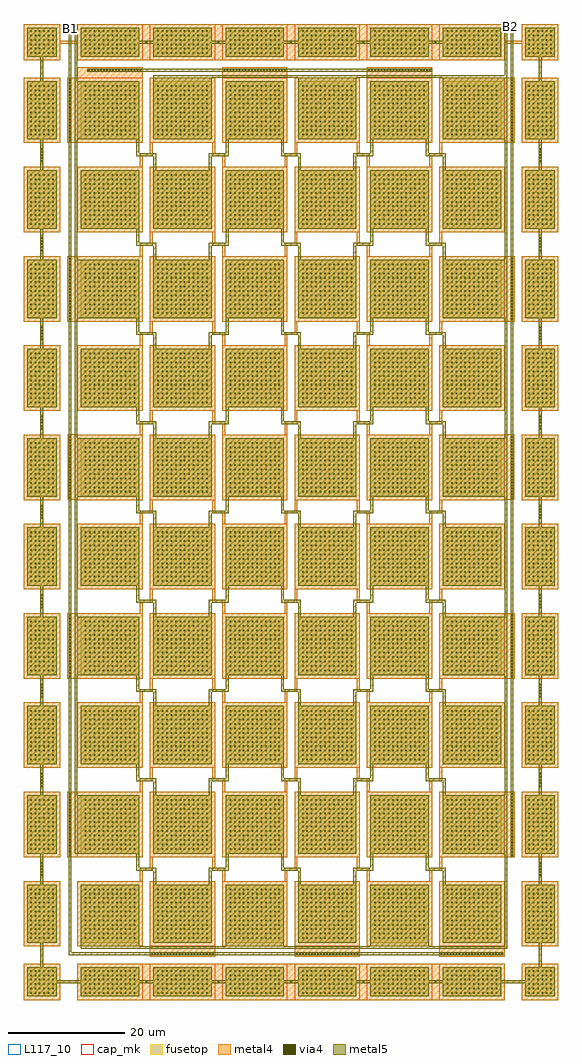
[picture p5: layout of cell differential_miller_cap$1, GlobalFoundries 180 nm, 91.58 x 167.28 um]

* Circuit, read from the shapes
.subckt differential_miller_cap$1 B1 B2 T1 T2
XC1 n1 n1 cap_mim_2f0fF c_width=5u c_length=5u m=4
XC2 n1 n1 cap_mim_2f0fF c_width=5u c_length=10u m=20
XC3 n1 n1 cap_mim_2f0fF c_width=10u c_length=5u m=12
XC4 T2 B2 cap_mim_2f0fF c_width=10u c_length=10u m=30
XC5 T1 B1 cap_mim_2f0fF c_width=10u c_length=10u m=30
.ends

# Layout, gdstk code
from math import pi, radians
import gdstk
lib = gdstk.Library(unit=1e-6, precision=5e-09)
def R(c, l, rs):  # rectangles x0, y0, x1, y1
    for r in rs: c.add(gdstk.rectangle(r[:2], r[2:], *l))
def A(c, l, x, y, w, h, nx, ny, dx, dy):  # array of equal rectangles
    R(c, l, [(x+i*dx, y+j*dy, x+i*dx+w, y+j*dy+h) for i in range(nx) for j in range(ny)])
via4 = (41, 0)
metal4 = (46, 0)
fusetop = (75, 0)
metal5 = (81, 0)
cap_mk = (117, 5)
L117_10 = (117, 10)

cap_mim_6 = lib.new_cell('cap_mim$6')
A(cap_mim_6, via4, 0.69, 0.69, 0.26, 0.26, 12, 12, 0.76, 0.76)
R(cap_mim_6, metal4, [(-0.6,-0.6,10.6,10.6)])
R(cap_mim_6, fusetop, [(0,0,10,10)])
R(cap_mim_6, metal5, [(0,0,10,10)])
R(cap_mim_6, cap_mk, [(-0.6,-0.6,10.6,10.6)])
R(cap_mim_6, L117_10, [(0,0,10,0.1)])

cap_mim_7 = lib.new_cell('cap_mim$7')
A(cap_mim_7, via4, 0.47, 0.69, 0.26, 0.26, 6, 12, 0.76, 0.76)
R(cap_mim_7, metal4, [(-0.6,-0.6,5.6,10.6)])
R(cap_mim_7, fusetop, [(0,0,5,10)])
R(cap_mim_7, metal5, [(0,0,5,10)])
R(cap_mim_7, cap_mk, [(-0.6,-0.6,5.6,10.6)])
R(cap_mim_7, L117_10, [(0,0,5,0.1)])

cap_mim_8 = lib.new_cell('cap_mim$8')
A(cap_mim_8, via4, 0.47, 0.47, 0.26, 0.26, 6, 6, 0.76, 0.76)
R(cap_mim_8, metal4, [(-0.6,-0.6,5.6,5.6)])
R(cap_mim_8, fusetop, [(0,0,5,5)])
R(cap_mim_8, metal5, [(0,0,5,5)])
R(cap_mim_8, cap_mk, [(-0.6,-0.6,5.6,5.6)])
R(cap_mim_8, L117_10, [(0,0,5,0.1)])

differential_miller_cap_ = lib.new_cell('differential_miller_cap$1')
A(differential_miller_cap_, via4, 20.86, 2.97, 0.26, 0.26, 5, 2, 12.4, 161.08)
A(differential_miller_cap_, via4, 21.86, 7.8, 0.26, 0.26, 21, 1, 0.52, 0)
A(differential_miller_cap_, via4, 46.66, 7.8, 0.26, 0.26, 21, 1, 0.52, 0)
A(differential_miller_cap_, via4, 71.46, 7.8, 0.26, 0.26, 21, 1, 0.52, 0)
A(differential_miller_cap_, via4, 2.97, 21.27, 0.26, 0.26, 1, 5, 0, 0.52)
A(differential_miller_cap_, via4, 88.35, 21.27, 0.26, 0.26, 1, 5, 0, 0.52)
A(differential_miller_cap_, via4, 7.8, 24.76, 0.26, 0.26, 1, 21, 0, 0.52)
A(differential_miller_cap_, via4, 83.52, 24.76, 0.26, 0.26, 1, 21, 0, 0.52)
A(differential_miller_cap_, via4, 2.97, 36.57, 0.26, 0.26, 1, 5, 0, 0.52)
A(differential_miller_cap_, via4, 88.35, 36.57, 0.26, 0.26, 1, 5, 0, 0.52)
A(differential_miller_cap_, via4, 2.97, 51.87, 0.26, 0.26, 1, 5, 0, 0.52)
A(differential_miller_cap_, via4, 88.35, 51.87, 0.26, 0.26, 1, 5, 0, 0.52)
A(differential_miller_cap_, via4, 7.8, 55.36, 0.26, 0.26, 1, 21, 0, 0.52)
A(differential_miller_cap_, via4, 83.52, 55.36, 0.26, 0.26, 1, 21, 0, 0.52)
A(differential_miller_cap_, via4, 2.97, 67.17, 0.26, 0.26, 1, 5, 0, 0.52)
A(differential_miller_cap_, via4, 88.35, 67.17, 0.26, 0.26, 1, 5, 0, 0.52)
A(differential_miller_cap_, via4, 2.97, 82.47, 0.26, 0.26, 1, 5, 0, 0.52)
A(differential_miller_cap_, via4, 88.35, 82.47, 0.26, 0.26, 1, 5, 0, 0.52)
A(differential_miller_cap_, via4, 7.8, 85.96, 0.26, 0.26, 1, 21, 0, 0.52)
A(differential_miller_cap_, via4, 83.52, 85.96, 0.26, 0.26, 1, 21, 0, 0.52)
A(differential_miller_cap_, via4, 2.97, 97.77, 0.26, 0.26, 1, 5, 0, 0.52)
A(differential_miller_cap_, via4, 88.35, 97.77, 0.26, 0.26, 1, 5, 0, 0.52)
A(differential_miller_cap_, via4, 2.97, 113.07, 0.26, 0.26, 1, 5, 0, 0.52)
A(differential_miller_cap_, via4, 88.35, 113.07, 0.26, 0.26, 1, 5, 0, 0.52)
A(differential_miller_cap_, via4, 7.8, 116.56, 0.26, 0.26, 1, 21, 0, 0.52)
A(differential_miller_cap_, via4, 83.52, 116.56, 0.26, 0.26, 1, 21, 0, 0.52)
A(differential_miller_cap_, via4, 2.97, 128.37, 0.26, 0.26, 1, 5, 0, 0.52)
A(differential_miller_cap_, via4, 88.35, 128.37, 0.26, 0.26, 1, 5, 0, 0.52)
A(differential_miller_cap_, via4, 2.97, 143.67, 0.26, 0.26, 1, 5, 0, 0.52)
A(differential_miller_cap_, via4, 88.35, 143.67, 0.26, 0.26, 1, 5, 0, 0.52)
A(differential_miller_cap_, via4, 7.8, 147.16, 0.26, 0.26, 1, 21, 0, 0.52)
A(differential_miller_cap_, via4, 83.52, 147.16, 0.26, 0.26, 1, 21, 0, 0.52)
A(differential_miller_cap_, via4, 11.02, 159.22, 0.26, 0.26, 18, 1, 0.52, 0)
A(differential_miller_cap_, via4, 34.26, 159.22, 0.26, 0.26, 21, 1, 0.52, 0)
A(differential_miller_cap_, via4, 59.06, 159.22, 0.26, 0.26, 21, 1, 0.52, 0)
A(differential_miller_cap_, metal4, 20.39, 0, 1.2, 6.2, 5, 2, 12.4, 161.08)
A(differential_miller_cap_, metal4, 21.59, 7.4, 11.2, 1.79, 3, 1, 24.8, 0)
A(differential_miller_cap_, metal4, 9.19, 158.09, 11.2, 1.79, 3, 1, 24.8, 0)
R(differential_miller_cap_, metal4, [(7.4,24.49,9.19,35.69), (82.39,24.49,84.18,35.69), (7.4,55.09,9.19,66.29), (82.39,55.09,84.18,66.29), (7.535,85.73,9.325,96.93), (82.255,85.73,84.045,96.93), (7.4,116.29,9.19,127.49), (82.39,116.29,84.18,127.49), (7.4,146.89,9.19,158.09), (82.39,146.89,84.18,158.09)])
A(differential_miller_cap_, metal5, 9.79, 9.19, 10, 0.6, 3, 1, 24.8, 0)
A(differential_miller_cap_, metal5, 9.19, 25.09, 0.6, 10, 1, 5, 0, 30.6)
A(differential_miller_cap_, metal5, 81.79, 25.09, 0.6, 10, 1, 5, 0, 30.6)
R(differential_miller_cap_, metal5, [(7.71,7.71,82.18,8.15), (7.71,8.15,8.15,167.28), (9.79,8.75,82.83,9.19), (82.39,9.19,82.83,167.28), (83.43,24.49,83.87,167.28), (8.75,25.09,9.19,167.28), (22.19,157.49,32.19,158.09), (46.99,157.49,56.99,158.09), (71.79,157.49,82.39,158.09), (22.19,158.09,82.39,158.53), (10.89,159.13,69.99,159.57)])
differential_miller_cap_.add(gdstk.FlexPath([(20.14,142.79),(20.14,144.84),(21.84,144.84),(21.84,146.89)], 0.5, ends="flush", simple_path=True, layer=46, datatype=0))  # metal4
differential_miller_cap_.add(gdstk.FlexPath([(20.14,112.19),(20.14,114.24),(21.84,114.24),(21.84,116.29)], 0.5, ends="flush", simple_path=True, layer=46, datatype=0))  # metal4
differential_miller_cap_.add(gdstk.FlexPath([(71.44,100.99),(71.44,98.94),(69.74,98.94),(69.74,96.89)], 0.5, ends="flush", simple_path=True, layer=46, datatype=0))  # metal4
differential_miller_cap_.add(gdstk.FlexPath([(21.84,100.99),(21.84,98.94),(20.14,98.94),(20.14,96.89)], 0.5, ends="flush", simple_path=True, layer=46, datatype=0))  # metal4
differential_miller_cap_.add(gdstk.FlexPath([(20.14,81.59),(20.14,83.64),(21.84,83.64),(21.84,85.69)], 0.5, ends="flush", simple_path=True, layer=46, datatype=0))  # metal4
differential_miller_cap_.add(gdstk.FlexPath([(21.84,70.39),(21.84,68.34),(20.14,68.34),(20.14,66.29)], 0.5, ends="flush", simple_path=True, layer=46, datatype=0))  # metal4
differential_miller_cap_.add(gdstk.FlexPath([(71.44,70.39),(71.44,68.34),(69.74,68.34),(69.74,66.29)], 0.5, ends="flush", simple_path=True, layer=46, datatype=0))  # metal4
differential_miller_cap_.add(gdstk.FlexPath([(20.14,50.99),(20.14,53.04),(21.84,53.04),(21.84,55.09)], 0.5, ends="flush", simple_path=True, layer=46, datatype=0))  # metal4
differential_miller_cap_.add(gdstk.FlexPath([(71.44,39.79),(71.44,37.74),(69.74,37.74),(69.74,35.69)], 0.5, ends="flush", simple_path=True, layer=46, datatype=0))  # metal4
differential_miller_cap_.add(gdstk.FlexPath([(21.84,39.79),(21.84,37.74),(20.14,37.74),(20.14,35.69)], 0.5, ends="flush", simple_path=True, layer=46, datatype=0))  # metal4
differential_miller_cap_.add(gdstk.FlexPath([(20.14,20.39),(20.14,22.44),(21.84,22.44),(21.84,24.49)], 0.5, ends="flush", simple_path=True, layer=46, datatype=0))  # metal4
differential_miller_cap_.add(gdstk.FlexPath([(44.94,142.79),(44.94,144.84),(46.64,144.84),(46.64,146.89)], 0.5, ends="flush", simple_path=True, layer=46, datatype=0))  # metal4
differential_miller_cap_.add(gdstk.FlexPath([(71.44,131.59),(71.44,129.54),(69.74,129.54),(69.74,127.49)], 0.5, ends="flush", simple_path=True, layer=46, datatype=0))  # metal4
differential_miller_cap_.add(gdstk.FlexPath([(44.94,112.19),(44.94,114.24),(46.64,114.24),(46.64,116.29)], 0.5, ends="flush", simple_path=True, layer=46, datatype=0))  # metal4
differential_miller_cap_.add(gdstk.FlexPath([(46.64,100.99),(46.64,98.94),(44.94,98.94),(44.94,96.89)], 0.5, ends="flush", simple_path=True, layer=46, datatype=0))  # metal4
differential_miller_cap_.add(gdstk.FlexPath([(44.94,81.59),(44.94,83.64),(46.64,83.64),(46.64,85.69)], 0.5, ends="flush", simple_path=True, layer=46, datatype=0))  # metal4
differential_miller_cap_.add(gdstk.FlexPath([(46.64,70.39),(46.64,68.34),(44.94,68.34),(44.94,66.29)], 0.5, ends="flush", simple_path=True, layer=46, datatype=0))  # metal4
differential_miller_cap_.add(gdstk.FlexPath([(44.94,50.99),(44.94,53.04),(46.64,53.04),(46.64,55.09)], 0.5, ends="flush", simple_path=True, layer=46, datatype=0))  # metal4
differential_miller_cap_.add(gdstk.FlexPath([(46.64,39.79),(46.64,37.74),(44.94,37.74),(44.94,35.69)], 0.5, ends="flush", simple_path=True, layer=46, datatype=0))  # metal4
differential_miller_cap_.add(gdstk.FlexPath([(44.94,20.39),(44.94,22.44),(46.64,22.44),(46.64,24.49)], 0.5, ends="flush", simple_path=True, layer=46, datatype=0))  # metal4
differential_miller_cap_.add(gdstk.FlexPath([(69.74,142.79),(69.74,144.84),(71.44,144.84),(71.44,146.89)], 0.5, ends="flush", simple_path=True, layer=46, datatype=0))  # metal4
differential_miller_cap_.add(gdstk.FlexPath([(46.64,131.59),(46.64,129.54),(44.94,129.54),(44.94,127.49)], 0.5, ends="flush", simple_path=True, layer=46, datatype=0))  # metal4
differential_miller_cap_.add(gdstk.FlexPath([(69.74,112.19),(69.74,114.24),(71.44,114.24),(71.44,116.29)], 0.5, ends="flush", simple_path=True, layer=46, datatype=0))  # metal4
differential_miller_cap_.add(gdstk.FlexPath([(69.74,81.59),(69.74,83.64),(71.44,83.64),(71.44,85.69)], 0.5, ends="flush", simple_path=True, layer=46, datatype=0))  # metal4
differential_miller_cap_.add(gdstk.FlexPath([(69.74,50.99),(69.74,53.04),(71.44,53.04),(71.44,55.09)], 0.5, ends="flush", simple_path=True, layer=46, datatype=0))  # metal4
differential_miller_cap_.add(gdstk.FlexPath([(69.74,20.39),(69.74,22.44),(71.44,22.44),(71.44,24.49)], 0.5, ends="flush", simple_path=True, layer=46, datatype=0))  # metal4
differential_miller_cap_.add(gdstk.FlexPath([(21.84,131.59),(21.84,129.54),(20.14,129.54),(20.14,127.49)], 0.5, ends="flush", simple_path=True, layer=46, datatype=0))  # metal4
differential_miller_cap_.add(gdstk.FlexPath([(34.24,142.79),(34.24,144.84),(32.54,144.84),(32.54,146.89)], 0.5, ends="flush", simple_path=True, layer=46, datatype=0))  # metal4
differential_miller_cap_.add(gdstk.FlexPath([(32.54,131.59),(32.54,129.54),(34.24,129.54),(34.24,127.49)], 0.5, ends="flush", simple_path=True, layer=46, datatype=0))  # metal4
differential_miller_cap_.add(gdstk.FlexPath([(34.24,112.19),(34.24,114.24),(32.54,114.24),(32.54,116.29)], 0.5, ends="flush", simple_path=True, layer=46, datatype=0))  # metal4
differential_miller_cap_.add(gdstk.FlexPath([(34.24,81.59),(34.24,83.64),(32.54,83.64),(32.54,85.69)], 0.5, ends="flush", simple_path=True, layer=46, datatype=0))  # metal4
differential_miller_cap_.add(gdstk.FlexPath([(34.24,50.99),(34.24,53.04),(32.54,53.04),(32.54,55.09)], 0.5, ends="flush", simple_path=True, layer=46, datatype=0))  # metal4
differential_miller_cap_.add(gdstk.FlexPath([(34.24,20.39),(34.24,22.44),(32.54,22.44),(32.54,24.49)], 0.5, ends="flush", simple_path=True, layer=46, datatype=0))  # metal4
differential_miller_cap_.add(gdstk.FlexPath([(32.54,100.99),(32.54,98.94),(34.24,98.94),(34.24,96.89)], 0.5, ends="flush", simple_path=True, layer=46, datatype=0))  # metal4
differential_miller_cap_.add(gdstk.FlexPath([(32.54,70.39),(32.54,68.34),(34.24,68.34),(34.24,66.29)], 0.5, ends="flush", simple_path=True, layer=46, datatype=0))  # metal4
differential_miller_cap_.add(gdstk.FlexPath([(32.54,39.79),(32.54,37.74),(34.24,37.74),(34.24,35.69)], 0.5, ends="flush", simple_path=True, layer=46, datatype=0))  # metal4
differential_miller_cap_.add(gdstk.FlexPath([(59.04,142.79),(59.04,144.84),(57.34,144.84),(57.34,146.89)], 0.5, ends="flush", simple_path=True, layer=46, datatype=0))  # metal4
differential_miller_cap_.add(gdstk.FlexPath([(57.34,131.59),(57.34,129.54),(59.04,129.54),(59.04,127.49)], 0.5, ends="flush", simple_path=True, layer=46, datatype=0))  # metal4
differential_miller_cap_.add(gdstk.FlexPath([(59.04,112.19),(59.04,114.24),(57.34,114.24),(57.34,116.29)], 0.5, ends="flush", simple_path=True, layer=46, datatype=0))  # metal4
differential_miller_cap_.add(gdstk.FlexPath([(57.34,100.99),(57.34,98.94),(59.04,98.94),(59.04,96.89)], 0.5, ends="flush", simple_path=True, layer=46, datatype=0))  # metal4
differential_miller_cap_.add(gdstk.FlexPath([(59.04,81.59),(59.04,83.64),(57.34,83.64),(57.34,85.69)], 0.5, ends="flush", simple_path=True, layer=46, datatype=0))  # metal4
differential_miller_cap_.add(gdstk.FlexPath([(57.34,70.39),(57.34,68.34),(59.04,68.34),(59.04,66.29)], 0.5, ends="flush", simple_path=True, layer=46, datatype=0))  # metal4
differential_miller_cap_.add(gdstk.FlexPath([(59.04,50.99),(59.04,53.04),(57.34,53.04),(57.34,55.09)], 0.5, ends="flush", simple_path=True, layer=46, datatype=0))  # metal4
differential_miller_cap_.add(gdstk.FlexPath([(57.34,39.79),(57.34,37.74),(59.04,37.74),(59.04,35.69)], 0.5, ends="flush", simple_path=True, layer=46, datatype=0))  # metal4
differential_miller_cap_.add(gdstk.FlexPath([(59.04,20.39),(59.04,22.44),(57.34,22.44),(57.34,24.49)], 0.5, ends="flush", simple_path=True, layer=46, datatype=0))  # metal4
differential_miller_cap_.add(gdstk.FlexPath([(88.48,20.39),(88.48,24.49)], 0.5, ends="flush", simple_path=True, layer=46, datatype=0))  # metal4
differential_miller_cap_.add(gdstk.FlexPath([(88.48,35.69),(88.48,39.79)], 0.5, ends="flush", simple_path=True, layer=46, datatype=0))  # metal4
differential_miller_cap_.add(gdstk.FlexPath([(88.48,50.99),(88.48,55.09)], 0.5, ends="flush", simple_path=True, layer=46, datatype=0))  # metal4
differential_miller_cap_.add(gdstk.FlexPath([(88.48,66.29),(88.48,70.39)], 0.5, ends="flush", simple_path=True, layer=46, datatype=0))  # metal4
differential_miller_cap_.add(gdstk.FlexPath([(88.48,81.59),(88.48,85.69)], 0.5, ends="flush", simple_path=True, layer=46, datatype=0))  # metal4
differential_miller_cap_.add(gdstk.FlexPath([(88.48,96.89),(88.48,100.99)], 0.5, ends="flush", simple_path=True, layer=46, datatype=0))  # metal4
differential_miller_cap_.add(gdstk.FlexPath([(88.48,112.19),(88.48,116.29)], 0.5, ends="flush", simple_path=True, layer=46, datatype=0))  # metal4
differential_miller_cap_.add(gdstk.FlexPath([(88.48,127.49),(88.48,131.59)], 0.5, ends="flush", simple_path=True, layer=46, datatype=0))  # metal4
differential_miller_cap_.add(gdstk.FlexPath([(88.48,142.79),(88.48,146.89)], 0.5, ends="flush", simple_path=True, layer=46, datatype=0))  # metal4
differential_miller_cap_.add(gdstk.FlexPath([(3.1,142.79),(3.1,146.89)], 0.5, ends="flush", simple_path=True, layer=46, datatype=0))  # metal4
differential_miller_cap_.add(gdstk.FlexPath([(3.1,127.49),(3.1,131.59)], 0.5, ends="flush", simple_path=True, layer=46, datatype=0))  # metal4
differential_miller_cap_.add(gdstk.FlexPath([(3.1,112.19),(3.1,116.29)], 0.5, ends="flush", simple_path=True, layer=46, datatype=0))  # metal4
differential_miller_cap_.add(gdstk.FlexPath([(3.1,96.89),(3.1,100.99)], 0.5, ends="flush", simple_path=True, layer=46, datatype=0))  # metal4
differential_miller_cap_.add(gdstk.FlexPath([(3.1,81.59),(3.1,85.69)], 0.5, ends="flush", simple_path=True, layer=46, datatype=0))  # metal4
differential_miller_cap_.add(gdstk.FlexPath([(3.1,66.29),(3.1,70.39)], 0.5, ends="flush", simple_path=True, layer=46, datatype=0))  # metal4
differential_miller_cap_.add(gdstk.FlexPath([(3.1,50.99),(3.1,55.09)], 0.5, ends="flush", simple_path=True, layer=46, datatype=0))  # metal4
differential_miller_cap_.add(gdstk.FlexPath([(3.1,35.69),(3.1,39.79)], 0.5, ends="flush", simple_path=True, layer=46, datatype=0))  # metal4
differential_miller_cap_.add(gdstk.FlexPath([(3.1,20.39),(3.1,24.49)], 0.5, ends="flush", simple_path=True, layer=46, datatype=0))  # metal4
differential_miller_cap_.add(gdstk.FlexPath([(3.35,164.18),(88.48,164.18),(88.48,3.1),(3.1,3.1),(3.1,164.43)], 0.5, ends="flush", simple_path=True, layer=46, datatype=0))  # metal4
differential_miller_cap_.add(gdstk.FlexPath([(22.44,142.19),(22.44,144.84),(19.54,144.84),(19.54,147.49)], 0.5, ends="flush", simple_path=True, layer=81, datatype=0))  # metal5
differential_miller_cap_.add(gdstk.FlexPath([(22.44,111.59),(22.44,114.24),(19.54,114.24),(19.54,116.89)], 0.5, ends="flush", simple_path=True, layer=81, datatype=0))  # metal5
differential_miller_cap_.add(gdstk.FlexPath([(69.14,101.59),(69.14,98.94),(72.04,98.94),(72.04,96.29)], 0.5, ends="flush", simple_path=True, layer=81, datatype=0))  # metal5
differential_miller_cap_.add(gdstk.FlexPath([(19.54,101.59),(19.54,98.94),(22.44,98.94),(22.44,96.29)], 0.5, ends="flush", simple_path=True, layer=81, datatype=0))  # metal5
differential_miller_cap_.add(gdstk.FlexPath([(22.44,80.99),(22.44,83.64),(19.54,83.64),(19.54,86.29)], 0.5, ends="flush", simple_path=True, layer=81, datatype=0))  # metal5
differential_miller_cap_.add(gdstk.FlexPath([(19.54,70.99),(19.54,68.34),(22.44,68.34),(22.44,65.69)], 0.5, ends="flush", simple_path=True, layer=81, datatype=0))  # metal5
differential_miller_cap_.add(gdstk.FlexPath([(69.14,70.99),(69.14,68.34),(72.04,68.34),(72.04,65.69)], 0.5, ends="flush", simple_path=True, layer=81, datatype=0))  # metal5
differential_miller_cap_.add(gdstk.FlexPath([(22.44,50.39),(22.44,53.04),(19.54,53.04),(19.54,55.69)], 0.5, ends="flush", simple_path=True, layer=81, datatype=0))  # metal5
differential_miller_cap_.add(gdstk.FlexPath([(69.14,40.39),(69.14,37.74),(72.04,37.74),(72.04,35.09)], 0.5, ends="flush", simple_path=True, layer=81, datatype=0))  # metal5
differential_miller_cap_.add(gdstk.FlexPath([(19.54,40.39),(19.54,37.74),(22.44,37.74),(22.44,35.09)], 0.5, ends="flush", simple_path=True, layer=81, datatype=0))  # metal5
differential_miller_cap_.add(gdstk.FlexPath([(22.44,19.79),(22.44,22.44),(19.54,22.44),(19.54,25.09)], 0.5, ends="flush", simple_path=True, layer=81, datatype=0))  # metal5
differential_miller_cap_.add(gdstk.FlexPath([(47.24,142.19),(47.24,144.84),(44.34,144.84),(44.34,147.49)], 0.5, ends="flush", simple_path=True, layer=81, datatype=0))  # metal5
differential_miller_cap_.add(gdstk.FlexPath([(69.14,132.19),(69.14,129.54),(72.04,129.54),(72.04,126.89)], 0.5, ends="flush", simple_path=True, layer=81, datatype=0))  # metal5
differential_miller_cap_.add(gdstk.FlexPath([(47.24,111.59),(47.24,114.24),(44.34,114.24),(44.34,116.89)], 0.5, ends="flush", simple_path=True, layer=81, datatype=0))  # metal5
differential_miller_cap_.add(gdstk.FlexPath([(44.34,101.59),(44.34,98.94),(47.24,98.94),(47.24,96.29)], 0.5, ends="flush", simple_path=True, layer=81, datatype=0))  # metal5
differential_miller_cap_.add(gdstk.FlexPath([(47.24,80.99),(47.24,83.64),(44.34,83.64),(44.34,86.29)], 0.5, ends="flush", simple_path=True, layer=81, datatype=0))  # metal5
differential_miller_cap_.add(gdstk.FlexPath([(44.34,70.99),(44.34,68.34),(47.24,68.34),(47.24,65.69)], 0.5, ends="flush", simple_path=True, layer=81, datatype=0))  # metal5
differential_miller_cap_.add(gdstk.FlexPath([(47.24,50.39),(47.24,53.04),(44.34,53.04),(44.34,55.69)], 0.5, ends="flush", simple_path=True, layer=81, datatype=0))  # metal5
differential_miller_cap_.add(gdstk.FlexPath([(44.34,40.39),(44.34,37.74),(47.24,37.74),(47.24,35.09)], 0.5, ends="flush", simple_path=True, layer=81, datatype=0))  # metal5
differential_miller_cap_.add(gdstk.FlexPath([(47.24,19.79),(47.24,22.44),(44.34,22.44),(44.34,25.09)], 0.5, ends="flush", simple_path=True, layer=81, datatype=0))  # metal5
differential_miller_cap_.add(gdstk.FlexPath([(72.04,142.19),(72.04,144.84),(69.14,144.84),(69.14,147.49)], 0.5, ends="flush", simple_path=True, layer=81, datatype=0))  # metal5
differential_miller_cap_.add(gdstk.FlexPath([(44.34,132.19),(44.34,129.54),(47.24,129.54),(47.24,126.89)], 0.5, ends="flush", simple_path=True, layer=81, datatype=0))  # metal5
differential_miller_cap_.add(gdstk.FlexPath([(72.04,111.59),(72.04,114.24),(69.14,114.24),(69.14,116.89)], 0.5, ends="flush", simple_path=True, layer=81, datatype=0))  # metal5
differential_miller_cap_.add(gdstk.FlexPath([(72.04,80.99),(72.04,83.64),(69.14,83.64),(69.14,86.29)], 0.5, ends="flush", simple_path=True, layer=81, datatype=0))  # metal5
differential_miller_cap_.add(gdstk.FlexPath([(72.04,50.39),(72.04,53.04),(69.14,53.04),(69.14,55.69)], 0.5, ends="flush", simple_path=True, layer=81, datatype=0))  # metal5
differential_miller_cap_.add(gdstk.FlexPath([(72.04,19.79),(72.04,22.44),(69.14,22.44),(69.14,25.09)], 0.5, ends="flush", simple_path=True, layer=81, datatype=0))  # metal5
differential_miller_cap_.add(gdstk.FlexPath([(19.54,132.19),(19.54,129.54),(22.44,129.54),(22.44,126.89)], 0.5, ends="flush", simple_path=True, layer=81, datatype=0))  # metal5
differential_miller_cap_.add(gdstk.FlexPath([(31.94,142.19),(31.94,144.84),(34.84,144.84),(34.84,147.49)], 0.5, ends="flush", simple_path=True, layer=81, datatype=0))  # metal5
differential_miller_cap_.add(gdstk.FlexPath([(34.84,132.19),(34.84,129.54),(31.94,129.54),(31.94,126.89)], 0.5, ends="flush", simple_path=True, layer=81, datatype=0))  # metal5
differential_miller_cap_.add(gdstk.FlexPath([(31.94,111.59),(31.94,114.24),(34.84,114.24),(34.84,116.89)], 0.5, ends="flush", simple_path=True, layer=81, datatype=0))  # metal5
differential_miller_cap_.add(gdstk.FlexPath([(31.94,80.99),(31.94,83.64),(34.84,83.64),(34.84,86.29)], 0.5, ends="flush", simple_path=True, layer=81, datatype=0))  # metal5
differential_miller_cap_.add(gdstk.FlexPath([(31.94,50.39),(31.94,53.04),(34.84,53.04),(34.84,55.69)], 0.5, ends="flush", simple_path=True, layer=81, datatype=0))  # metal5
differential_miller_cap_.add(gdstk.FlexPath([(31.94,19.79),(31.94,22.44),(34.84,22.44),(34.84,25.09)], 0.5, ends="flush", simple_path=True, layer=81, datatype=0))  # metal5
differential_miller_cap_.add(gdstk.FlexPath([(34.84,101.59),(34.84,98.94),(31.94,98.94),(31.94,96.29)], 0.5, ends="flush", simple_path=True, layer=81, datatype=0))  # metal5
differential_miller_cap_.add(gdstk.FlexPath([(34.84,70.99),(34.84,68.34),(31.94,68.34),(31.94,65.69)], 0.5, ends="flush", simple_path=True, layer=81, datatype=0))  # metal5
differential_miller_cap_.add(gdstk.FlexPath([(34.84,40.39),(34.84,37.74),(31.94,37.74),(31.94,35.09)], 0.5, ends="flush", simple_path=True, layer=81, datatype=0))  # metal5
differential_miller_cap_.add(gdstk.FlexPath([(56.74,142.19),(56.74,144.84),(59.64,144.84),(59.64,147.49)], 0.5, ends="flush", simple_path=True, layer=81, datatype=0))  # metal5
differential_miller_cap_.add(gdstk.FlexPath([(59.64,132.19),(59.64,129.54),(56.74,129.54),(56.74,126.89)], 0.5, ends="flush", simple_path=True, layer=81, datatype=0))  # metal5
differential_miller_cap_.add(gdstk.FlexPath([(56.74,111.59),(56.74,114.24),(59.64,114.24),(59.64,116.89)], 0.5, ends="flush", simple_path=True, layer=81, datatype=0))  # metal5
differential_miller_cap_.add(gdstk.FlexPath([(59.64,101.59),(59.64,98.94),(56.74,98.94),(56.74,96.29)], 0.5, ends="flush", simple_path=True, layer=81, datatype=0))  # metal5
differential_miller_cap_.add(gdstk.FlexPath([(56.74,80.99),(56.74,83.64),(59.64,83.64),(59.64,86.29)], 0.5, ends="flush", simple_path=True, layer=81, datatype=0))  # metal5
differential_miller_cap_.add(gdstk.FlexPath([(59.64,70.99),(59.64,68.34),(56.74,68.34),(56.74,65.69)], 0.5, ends="flush", simple_path=True, layer=81, datatype=0))  # metal5
differential_miller_cap_.add(gdstk.FlexPath([(56.74,50.39),(56.74,53.04),(59.64,53.04),(59.64,55.69)], 0.5, ends="flush", simple_path=True, layer=81, datatype=0))  # metal5
differential_miller_cap_.add(gdstk.FlexPath([(59.64,40.39),(59.64,37.74),(56.74,37.74),(56.74,35.09)], 0.5, ends="flush", simple_path=True, layer=81, datatype=0))  # metal5
differential_miller_cap_.add(gdstk.FlexPath([(56.74,19.79),(56.74,22.44),(59.64,22.44),(59.64,25.09)], 0.5, ends="flush", simple_path=True, layer=81, datatype=0))  # metal5
differential_miller_cap_.add(gdstk.FlexPath([(88.48,19.79),(88.48,25.09)], 0.5, ends="flush", simple_path=True, layer=81, datatype=0))  # metal5
differential_miller_cap_.add(gdstk.FlexPath([(88.48,35.09),(88.48,40.39)], 0.5, ends="flush", simple_path=True, layer=81, datatype=0))  # metal5
differential_miller_cap_.add(gdstk.FlexPath([(88.48,50.39),(88.48,55.69)], 0.5, ends="flush", simple_path=True, layer=81, datatype=0))  # metal5
differential_miller_cap_.add(gdstk.FlexPath([(88.48,65.69),(88.48,70.99)], 0.5, ends="flush", simple_path=True, layer=81, datatype=0))  # metal5
differential_miller_cap_.add(gdstk.FlexPath([(88.48,80.99),(88.48,86.29)], 0.5, ends="flush", simple_path=True, layer=81, datatype=0))  # metal5
differential_miller_cap_.add(gdstk.FlexPath([(88.48,96.29),(88.48,101.59)], 0.5, ends="flush", simple_path=True, layer=81, datatype=0))  # metal5
differential_miller_cap_.add(gdstk.FlexPath([(88.48,111.59),(88.48,116.89)], 0.5, ends="flush", simple_path=True, layer=81, datatype=0))  # metal5
differential_miller_cap_.add(gdstk.FlexPath([(88.48,126.89),(88.48,132.19)], 0.5, ends="flush", simple_path=True, layer=81, datatype=0))  # metal5
differential_miller_cap_.add(gdstk.FlexPath([(88.48,142.19),(88.48,147.49)], 0.5, ends="flush", simple_path=True, layer=81, datatype=0))  # metal5
differential_miller_cap_.add(gdstk.FlexPath([(3.1,142.19),(3.1,147.49)], 0.5, ends="flush", simple_path=True, layer=81, datatype=0))  # metal5
differential_miller_cap_.add(gdstk.FlexPath([(3.1,126.89),(3.1,132.19)], 0.5, ends="flush", simple_path=True, layer=81, datatype=0))  # metal5
differential_miller_cap_.add(gdstk.FlexPath([(3.1,111.59),(3.1,116.89)], 0.5, ends="flush", simple_path=True, layer=81, datatype=0))  # metal5
differential_miller_cap_.add(gdstk.FlexPath([(3.1,96.29),(3.1,101.59)], 0.5, ends="flush", simple_path=True, layer=81, datatype=0))  # metal5
differential_miller_cap_.add(gdstk.FlexPath([(3.1,80.99),(3.1,86.29)], 0.5, ends="flush", simple_path=True, layer=81, datatype=0))  # metal5
differential_miller_cap_.add(gdstk.FlexPath([(3.1,65.69),(3.1,70.99)], 0.5, ends="flush", simple_path=True, layer=81, datatype=0))  # metal5
differential_miller_cap_.add(gdstk.FlexPath([(3.1,50.39),(3.1,55.69)], 0.5, ends="flush", simple_path=True, layer=81, datatype=0))  # metal5
differential_miller_cap_.add(gdstk.FlexPath([(3.1,35.09),(3.1,40.39)], 0.5, ends="flush", simple_path=True, layer=81, datatype=0))  # metal5
differential_miller_cap_.add(gdstk.FlexPath([(3.1,19.79),(3.1,25.09)], 0.5, ends="flush", simple_path=True, layer=81, datatype=0))  # metal5
differential_miller_cap_.add(gdstk.FlexPath([(22.19,3.1),(19.79,3.1)], 0.5, ends="flush", simple_path=True, layer=81, datatype=0))  # metal5
differential_miller_cap_.add(gdstk.FlexPath([(34.59,3.1),(32.19,3.1)], 0.5, ends="flush", simple_path=True, layer=81, datatype=0))  # metal5
differential_miller_cap_.add(gdstk.FlexPath([(46.99,3.1),(44.59,3.1)], 0.5, ends="flush", simple_path=True, layer=81, datatype=0))  # metal5
differential_miller_cap_.add(gdstk.FlexPath([(59.39,3.1),(56.99,3.1)], 0.5, ends="flush", simple_path=True, layer=81, datatype=0))  # metal5
differential_miller_cap_.add(gdstk.FlexPath([(71.79,3.1),(69.39,3.1)], 0.5, ends="flush", simple_path=True, layer=81, datatype=0))  # metal5
differential_miller_cap_.add(gdstk.FlexPath([(22.19,164.18),(19.79,164.18)], 0.5, ends="flush", simple_path=True, layer=81, datatype=0))  # metal5
differential_miller_cap_.add(gdstk.FlexPath([(34.59,164.18),(32.19,164.18)], 0.5, ends="flush", simple_path=True, layer=81, datatype=0))  # metal5
differential_miller_cap_.add(gdstk.FlexPath([(46.99,164.18),(44.59,164.18)], 0.5, ends="flush", simple_path=True, layer=81, datatype=0))  # metal5
differential_miller_cap_.add(gdstk.FlexPath([(59.39,164.18),(56.99,164.18)], 0.5, ends="flush", simple_path=True, layer=81, datatype=0))  # metal5
differential_miller_cap_.add(gdstk.FlexPath([(71.79,164.18),(69.39,164.18)], 0.5, ends="flush", simple_path=True, layer=81, datatype=0))  # metal5
differential_miller_cap_.add(gdstk.FlexPath([(88.48,164.43),(88.48,3.1),(3.1,3.1),(3.1,164.43)], 0.5, ends="flush", simple_path=True, layer=81, datatype=0))  # metal5
differential_miller_cap_.add(gdstk.Reference(cap_mim_6, (9.79,147.49)))
differential_miller_cap_.add(gdstk.Reference(cap_mim_6, (9.79,132.19)))
differential_miller_cap_.add(gdstk.Reference(cap_mim_6, (9.79,116.89)))
differential_miller_cap_.add(gdstk.Reference(cap_mim_6, (9.79,101.59)))
differential_miller_cap_.add(gdstk.Reference(cap_mim_6, (9.79,86.29)))
differential_miller_cap_.add(gdstk.Reference(cap_mim_6, (9.79,70.99)))
differential_miller_cap_.add(gdstk.Reference(cap_mim_6, (9.79,55.69)))
differential_miller_cap_.add(gdstk.Reference(cap_mim_6, (9.79,40.39)))
differential_miller_cap_.add(gdstk.Reference(cap_mim_6, (9.79,25.09)))
differential_miller_cap_.add(gdstk.Reference(cap_mim_6, (9.79,9.79)))
differential_miller_cap_.add(gdstk.Reference(cap_mim_6, (59.39,9.79)))
differential_miller_cap_.add(gdstk.Reference(cap_mim_6, (46.99,9.79)))
differential_miller_cap_.add(gdstk.Reference(cap_mim_6, (59.39,25.09)))
differential_miller_cap_.add(gdstk.Reference(cap_mim_6, (46.99,25.09)))
differential_miller_cap_.add(gdstk.Reference(cap_mim_6, (59.39,40.39)))
differential_miller_cap_.add(gdstk.Reference(cap_mim_6, (46.99,40.39)))
differential_miller_cap_.add(gdstk.Reference(cap_mim_6, (46.99,55.69)))
differential_miller_cap_.add(gdstk.Reference(cap_mim_6, (59.39,55.69)))
differential_miller_cap_.add(gdstk.Reference(cap_mim_6, (59.39,70.99)))
differential_miller_cap_.add(gdstk.Reference(cap_mim_6, (46.99,70.99)))
differential_miller_cap_.add(gdstk.Reference(cap_mim_6, (59.39,86.29)))
differential_miller_cap_.add(gdstk.Reference(cap_mim_6, (46.99,86.29)))
differential_miller_cap_.add(gdstk.Reference(cap_mim_6, (59.39,101.59)))
differential_miller_cap_.add(gdstk.Reference(cap_mim_6, (46.99,101.59)))
differential_miller_cap_.add(gdstk.Reference(cap_mim_6, (59.39,116.89)))
differential_miller_cap_.add(gdstk.Reference(cap_mim_6, (46.99,116.89)))
differential_miller_cap_.add(gdstk.Reference(cap_mim_6, (46.99,132.19)))
differential_miller_cap_.add(gdstk.Reference(cap_mim_6, (59.39,132.19)))
differential_miller_cap_.add(gdstk.Reference(cap_mim_6, (59.39,147.49)))
differential_miller_cap_.add(gdstk.Reference(cap_mim_6, (46.99,147.49)))
differential_miller_cap_.add(gdstk.Reference(cap_mim_6, (34.59,9.79)))
differential_miller_cap_.add(gdstk.Reference(cap_mim_6, (22.19,9.79)))
differential_miller_cap_.add(gdstk.Reference(cap_mim_6, (34.59,25.09)))
differential_miller_cap_.add(gdstk.Reference(cap_mim_6, (22.19,25.09)))
differential_miller_cap_.add(gdstk.Reference(cap_mim_6, (34.59,40.39)))
differential_miller_cap_.add(gdstk.Reference(cap_mim_6, (22.19,40.39)))
differential_miller_cap_.add(gdstk.Reference(cap_mim_6, (22.19,55.69)))
differential_miller_cap_.add(gdstk.Reference(cap_mim_6, (34.59,55.69)))
differential_miller_cap_.add(gdstk.Reference(cap_mim_6, (34.59,70.99)))
differential_miller_cap_.add(gdstk.Reference(cap_mim_6, (22.19,70.99)))
differential_miller_cap_.add(gdstk.Reference(cap_mim_6, (34.59,86.29)))
differential_miller_cap_.add(gdstk.Reference(cap_mim_6, (22.19,86.29)))
differential_miller_cap_.add(gdstk.Reference(cap_mim_6, (34.59,101.59)))
differential_miller_cap_.add(gdstk.Reference(cap_mim_6, (22.19,101.59)))
differential_miller_cap_.add(gdstk.Reference(cap_mim_6, (34.59,116.89)))
differential_miller_cap_.add(gdstk.Reference(cap_mim_6, (22.19,116.89)))
differential_miller_cap_.add(gdstk.Reference(cap_mim_6, (22.19,132.19)))
differential_miller_cap_.add(gdstk.Reference(cap_mim_6, (34.59,132.19)))
differential_miller_cap_.add(gdstk.Reference(cap_mim_6, (34.59,147.49)))
differential_miller_cap_.add(gdstk.Reference(cap_mim_6, (22.19,147.49)))
differential_miller_cap_.add(gdstk.Reference(cap_mim_6, (71.79,9.79)))
differential_miller_cap_.add(gdstk.Reference(cap_mim_6, (71.79,25.09)))
differential_miller_cap_.add(gdstk.Reference(cap_mim_6, (71.79,40.39)))
differential_miller_cap_.add(gdstk.Reference(cap_mim_6, (71.79,55.69)))
differential_miller_cap_.add(gdstk.Reference(cap_mim_6, (71.79,70.99)))
differential_miller_cap_.add(gdstk.Reference(cap_mim_6, (71.79,86.29)))
differential_miller_cap_.add(gdstk.Reference(cap_mim_6, (71.79,101.59)))
differential_miller_cap_.add(gdstk.Reference(cap_mim_6, (71.79,116.89)))
differential_miller_cap_.add(gdstk.Reference(cap_mim_6, (71.79,132.19)))
differential_miller_cap_.add(gdstk.Reference(cap_mim_6, (71.79,147.49)))
differential_miller_cap_.add(gdstk.Reference(cap_mim_7, (85.98,25.09)))
differential_miller_cap_.add(gdstk.Reference(cap_mim_7, (85.98,9.79)))
differential_miller_cap_.add(gdstk.Reference(cap_mim_7, (85.98,55.69)))
differential_miller_cap_.add(gdstk.Reference(cap_mim_7, (85.98,40.39)))
differential_miller_cap_.add(gdstk.Reference(cap_mim_7, (85.98,86.29)))
differential_miller_cap_.add(gdstk.Reference(cap_mim_7, (85.98,70.99)))
differential_miller_cap_.add(gdstk.Reference(cap_mim_7, (85.98,116.89)))
differential_miller_cap_.add(gdstk.Reference(cap_mim_7, (85.98,101.59)))
differential_miller_cap_.add(gdstk.Reference(cap_mim_7, (85.98,132.19)))
differential_miller_cap_.add(gdstk.Reference(cap_mim_7, (85.98,147.49)))
differential_miller_cap_.add(gdstk.Reference(cap_mim_7, (0.6,147.49)))
differential_miller_cap_.add(gdstk.Reference(cap_mim_7, (0.6,132.19)))
differential_miller_cap_.add(gdstk.Reference(cap_mim_7, (0.6,101.59)))
differential_miller_cap_.add(gdstk.Reference(cap_mim_7, (0.6,116.89)))
differential_miller_cap_.add(gdstk.Reference(cap_mim_7, (0.6,70.99)))
differential_miller_cap_.add(gdstk.Reference(cap_mim_7, (0.6,86.29)))
differential_miller_cap_.add(gdstk.Reference(cap_mim_7, (0.6,40.39)))
differential_miller_cap_.add(gdstk.Reference(cap_mim_7, (0.6,55.69)))
differential_miller_cap_.add(gdstk.Reference(cap_mim_7, (0.6,9.79)))
differential_miller_cap_.add(gdstk.Reference(cap_mim_7, (0.6,25.09)))
differential_miller_cap_.add(gdstk.Reference(cap_mim_8, (85.98,0.6)))
differential_miller_cap_.add(gdstk.Reference(cap_mim_7, (32.19,0.6), rotation=pi/2))
differential_miller_cap_.add(gdstk.Reference(cap_mim_8, (0.6,0.6)))
differential_miller_cap_.add(gdstk.Reference(cap_mim_7, (19.79,0.6), rotation=pi/2))
differential_miller_cap_.add(gdstk.Reference(cap_mim_7, (44.59,0.6), rotation=pi/2))
differential_miller_cap_.add(gdstk.Reference(cap_mim_7, (56.99,0.6), rotation=pi/2))
differential_miller_cap_.add(gdstk.Reference(cap_mim_7, (69.39,0.6), rotation=pi/2))
differential_miller_cap_.add(gdstk.Reference(cap_mim_7, (81.79,0.6), rotation=pi/2))
differential_miller_cap_.add(gdstk.Reference(cap_mim_8, (85.98,161.68)))
differential_miller_cap_.add(gdstk.Reference(cap_mim_7, (32.19,161.68), rotation=pi/2))
differential_miller_cap_.add(gdstk.Reference(cap_mim_8, (0.6,161.68)))
differential_miller_cap_.add(gdstk.Reference(cap_mim_7, (19.79,161.68), rotation=pi/2))
differential_miller_cap_.add(gdstk.Reference(cap_mim_7, (44.59,161.68), rotation=pi/2))
differential_miller_cap_.add(gdstk.Reference(cap_mim_7, (56.99,161.68), rotation=pi/2))
differential_miller_cap_.add(gdstk.Reference(cap_mim_7, (69.39,161.68), rotation=pi/2))
differential_miller_cap_.add(gdstk.Reference(cap_mim_7, (81.79,161.68), rotation=pi/2))
differential_miller_cap_.add(gdstk.Label('B2', (83.475,166.9), layer=81, texttype=10))
differential_miller_cap_.add(gdstk.Label('T2', (82.46,166.89), layer=81, texttype=10))
differential_miller_cap_.add(gdstk.Label('B1', (7.915,166.58), layer=81, texttype=10))
differential_miller_cap_.add(gdstk.Label('T1', (8.935,166.59), layer=81, texttype=10))

lib.write_gds('differential_miller_cap_1.gds')
